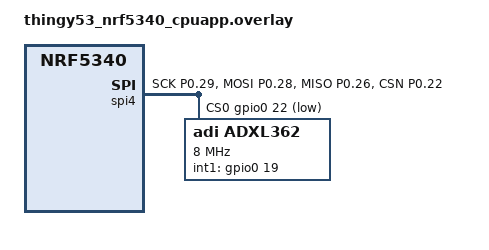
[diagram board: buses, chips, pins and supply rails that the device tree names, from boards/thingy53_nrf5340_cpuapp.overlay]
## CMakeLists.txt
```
# SPDX-License-Identifier: Apache-2.0

cmake_minimum_required(VERSION 3.20.0)

find_package(Zephyr REQUIRED HINTS $ENV{ZEPHYR_BASE})
project(timer_dppi_spim)

target_sources(app PRIVATE src/main.c src/spim_dppi.c)
target_sources_ifdef(CONFIG_APP_SENSOR_ADXL362 app PRIVATE src/sensor_adxl362.c)
target_sources_ifdef(CONFIG_APP_SENSOR_BMI270  app PRIVATE src/sensor_bmi270.c)
```

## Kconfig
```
# Copyright (c) 2026
# SPDX-License-Identifier: Apache-2.0

DT_COMPAT_BOSCH_BMI270 := bosch,bmi270

menu "TIMER -> DPPI -> SPIM accelerometer reader"

choice APP_SENSOR
	prompt "Accelerometer on the SPI bus (chosen app,accel)"
	default APP_SENSOR_BMI270 if $(dt_compat_enabled,$(DT_COMPAT_BOSCH_BMI270))
	default APP_SENSOR_ADXL362

config APP_SENSOR_ADXL362
	bool "ADXL362 (Thingy:53)"

config APP_SENSOR_BMI270
	bool "BMI270 (nRF54L15 TAG)"

endchoice

config APP_SENSOR_ODR_HZ
	int "Sensor output data rate in Hz"
	default 400
	help
	  Rounded down to the nearest rate the sensor supports
	  (ADXL362: 12.5..400 Hz, BMI270: 25..1600 Hz).

config APP_SAMPLE_PERIOD_US
	int "TIMER trigger period in microseconds"
	default 1000
	range 10 1000000
	help
	  A TIMER (chosen app,timer-trigger) starts one SPIM transaction every
	  period, independently of the sensor. Faster than the sensor ODR means
	  repeated samples (flagged by the data-ready bit in the burst); slower
	  than the real ODR silently loses samples, so keep 5-10 % above it.

config APP_SWEEP_PERIODS_US
	string "Comma-separated list of TIMER periods (us) to cycle through (bench)"
	default ""
	help
	  When not empty, the app runs each period for APP_SWEEP_STEP_S seconds
	  and prints per-period totals (transactions, queued, fresh, dropped),
	  then moves to the next. Used to find the minimum timer rate that loses
	  no sample against the sensor's real ODR, and the bus ceiling.

config APP_SWEEP_STEP_S
	int "Seconds per sweep step"
	default 10

config APP_DRAIN_PERIOD_US
	int "Drain period in microseconds"
	default 10000
	range 100 1000000
	help
	  A thread wakes up every period, reads the EasyDMA pointer and pushes
	  the slots that arrived into the message queue; once per lap (every
	  APP_RING_SLOTS/2 samples or more) it also arms the ring wrap. The
	  actual period is rounded up to the kernel tick (plus one tick) and
	  the drain time is added to it. Delivery latency: at most that real
	  period when at most 4 samples arrive per drain (the drain waits one
	  transaction time so the newest one is complete); above that the
	  newest sample of each drain goes out on the next drain (real period
	  plus one sample period). Interrupts per second = 1 / period (wake-up)
	  + wraps.

config APP_RING_SLOTS
	int "Ring size in samples"
	default 256
	range 8 4096
	help
	  The wrap is armed once the DMA is past half of the ring, so the ring
	  must hold at least two drain periods of samples (ring >= 2 x rate x
	  period), plus slack for scheduling delay; 8 guard slots are added
	  after it and an overflow into them is counted.

config APP_PER_SAMPLE_IRQ
	bool "Deliver each sample from the SPIM END interrupt"
	default n
	help
	  One interrupt per transaction instead of the drain thread: a single
	  buffer, and the END ISR copies the sample that just ended into the
	  queue (latency = ISR entry + copy; ~1.2 us with the core awake, up to
	  ~15.5 us from idle on the nRF54L15 M33, ~26 us on the nRF5340). Valid
	  while the sample period exceeds the transaction time plus that entry
	  plus ~2 us (measured clean down to 40 us on both SoCs); a
	  transaction that starts during the copy is detected and the sample
	  dropped as "torn", one that starts before the ISR entry is not (the
	  data may then be mixed). No ring, no wrap; APP_DRAIN_PERIOD_US,
	  APP_RING_SLOTS and APP_WRAP_AWAKE_BELOW_US are unused.

config APP_WRAP_AWAKE_BELOW_US
	int "Wait awake for the wrap when the sample period is below this (us)"
	default 64
	range 0 10000
	depends on !APP_PER_SAMPLE_IRQ
	help
	  When the wrap is due and the recent samples were closer together than
	  this, the drain thread stays awake until the wrap ISR has run (at most
	  a quarter of the drain period or 8 sample periods) instead of going
	  back to sleep. Waking the core from idle for that IRQ costs up to
	  ~16.5 us on the nRF54L15 (RRAM) and ~24 us on the nRF5340, more than
	  one sample period at high rates. 0 disables the wait.

config APP_QUEUE_DEPTH
	int "Message queue depth in samples"
	default 256
	help
	  Must hold at least one drain's worth of samples plus the worst-case
	  consumer delay.

config APP_QUEUE_FRESH_ONLY
	bool "Drop repeated samples before queueing (data-ready bit clear)"
	default n
	help
	  Transactions faster than the sensor ODR re-read the previous sample.
	  With this option the drain thread (or the END ISR, per-sample mode)
	  checks the data-ready bit in the burst's STATUS byte and only queues
	  new samples, so the queue and the consumer see the sensor's real
	  rate. Skipped samples are counted.

config APP_SPI_FREQ_HZ
	int "SPIM clock frequency in Hz"
	default 4000000

config APP_SPI_CSN_DURATION
	int "IFTIMING.CSNDUR: CSN-to-SCK delay and CSN inactive time, in SPIM core clock cycles"
	default 2
	range 1 255
	help
	  Reset value 2. nrfx raises it automatically only when it applies the
	  nRF54L errata 8 workaround (PRESCALER > 2); at higher SPI clocks it
	  may need a larger value so SCK is settled before the first edge.

config APP_SPI_RX_DELAY
	int "IFTIMING.RXDELAY: MISO sample delay (-1 = driver default)"
	default -1
	range -1 7
	help
	  Only on SPIM instances that have RXDELAY (nRF5340 SPIM4, nRF54L SPIMxx).

config APP_WRAP_ON_STARTED
	bool "Arm the wrap on SPIM STARTED instead of DMA.RX.READY on nRF54L (bench)"
	default n
	help
	  On nRF54L the ring wrap is armed on DMA.RX.READY, the event the
	  datasheet defines as "registers can be written for the next
	  sequence". This option uses STARTED instead, to compare the two
	  (wrap latency, late wraps). No effect on nRF53/52, which have no
	  DMA.RX.READY event.

config APP_RRAM_STANDBY
	bool "Keep the RRAM in standby instead of power-down during idle (nRF54L, bench)"
	depends on HAS_HW_NRF_RRAMC
	default n
	help
	  By default the RRAMC powers the RRAM down in System ON idle, so the
	  first instruction fetch after a wake-up waits for it (measured ~16-17 us
	  on the nRF54L15). Standby mode (RRAMC.POWER.LOWPOWERCONFIG.MODE) gives a
	  fast wake-up at a higher idle current; the datasheet recommends it
	  together with Constant Latency mode for the lowest latency.

config APP_WRAP_LATENCY_STATS
	bool "Measure the delivering ISR latency (bench)"
	default n
	help
	  Runs the trigger TIMER at 16 MHz and, in the wrap ISR (or the END ISR
	  in per-sample mode), captures the time elapsed since the trigger
	  COMPARE that started the transaction: DPPI -> SPIM START ->
	  STARTED/DMA.RX.READY (or END) -> IRQ -> ISR.
	  Min/avg/max are printed with the reports. Used to
	  compare the Cortex-M33 and the FLPR (RISC-V) on the nRF54L15.

config APP_REQUEST_HFXO
	bool "Request the HFXO so TIMERs run from the crystal"
	default y
	depends on CLOCK_CONTROL_NRF
	help
	  Without it the TIMER (HFCLK) runs from the internal RC oscillator,
	  measured ~0.2% slow against the LFXO based kernel clock. The FLPR has
	  no clock control: there the hfxo_launcher image (launcher/) requests it.

config APP_REPORT_PERIOD_MS
	int "Report period in milliseconds"
	default 1000

endmenu

source "Kconfig.zephyr"
```

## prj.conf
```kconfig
CONFIG_GPIO=y
CONFIG_PINCTRL=y
CONFIG_LOG=y
CONFIG_CBPRINTF_FP_SUPPORT=y

# nrfx 4.0 (NCS 3.4.x): per-driver symbols only; instances come from devicetree,
# the DPPI driver was replaced by the GPPI helper layer.
CONFIG_NRFX_SPIM=y
CONFIG_NRFX_TIMER=y
CONFIG_NRFX_GPPI=y

# The accelerometer bus is driven directly with nrfx: keep the Zephyr SPI and
# sensor drivers away from it.
CONFIG_SPI=n
CONFIG_SENSOR=n
CONFIG_MAIN_STACK_SIZE=4096
```

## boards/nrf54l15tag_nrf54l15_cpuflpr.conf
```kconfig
# The TAG has no UART: log over SEGGER RTT (J-Link on the DK debug-out)
CONFIG_CONSOLE=y
CONFIG_USE_SEGGER_RTT=y
CONFIG_SEGGER_RTT_BUFFER_SIZE_UP=8192
CONFIG_RTT_CONSOLE=y
CONFIG_UART_CONSOLE=n
CONFIG_LOG_BACKEND_RTT=y
CONFIG_LOG_BACKEND_UART=n
CONFIG_LOG_BUFFER_SIZE=4096
CONFIG_LOG_BACKEND_RTT_MODE_DROP=y
CONFIG_I2C=n
# nRF54L15 errata 8 (SPIM, PRESCALER > 2, first bit 1): 8 MHz keeps PRESCALER = 2
CONFIG_APP_SPI_FREQ_HZ=8000000
# RXDELAY is in SPIM core clock cycles (16 MHz, 62.5 ns) on nRF54L; the reset
# value 2 = 125 ns = one full bit at 8 MHz, which samples the next bit.
CONFIG_APP_SPI_RX_DELAY=1
# Report lines carry several doubles; the default 768-byte log thread stack overflows (UsageFault STKOF)
CONFIG_LOG_PROCESS_THREAD_STACK_SIZE=2048
CONFIG_LOG_MODE_IMMEDIATE=y
CONFIG_NRFX_EGU20=y
```

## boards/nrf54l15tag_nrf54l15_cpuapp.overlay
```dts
/*
 * nRF54L15 TAG - BMI270 on spi22 (P1, PERI domain: same DPPI domain as
 * GPIOTE20 and TIMER2x, no PPIB needed). CSN is added to the board's pinctrl
 * group so the SPIM hardware chip select drives P1.07.
 */
/ {
	chosen {
		app,accel = &bmi270;
		app,timer-trigger = &timer20;
	};
};

&spi22_default {
	group1 {
		psels = <NRF_PSEL(SPIM_SCK, 1, 8)>,
			<NRF_PSEL(SPIM_MOSI, 1, 6)>,
			<NRF_PSEL(SPIM_MISO, 1, 5)>,
			<NRF_PSEL(SPIM_CSN, 1, 7)>;
	};
};

/* The other sensors share nothing with this test; keep their drivers out */
&adxl367 {
	status = "disabled";
};

&bme688 {
	status = "disabled";
};
```

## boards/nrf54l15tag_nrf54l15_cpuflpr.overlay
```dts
/*
 * nRF54L15 TAG, FLPR core - same wiring as the application core build:
 * BMI270 on spi22 (P1, PERI domain) with hardware CSN on P1.07. The board's
 * FLPR devicetree leaves spi22/bmi270 disabled, so enable them here (the
 * app drives SPIM22 with nrfx; no Zephyr SPI driver is involved).
 */
/ {
	chosen {
		app,accel = &bmi270;
		app,timer-trigger = &timer20;
	};
};

&spi22_default {
	group1 {
		psels = <NRF_PSEL(SPIM_SCK, 1, 8)>,
			<NRF_PSEL(SPIM_MOSI, 1, 6)>,
			<NRF_PSEL(SPIM_MISO, 1, 5)>,
			<NRF_PSEL(SPIM_CSN, 1, 7)>;
	};
};

&spi22 {
	status = "okay";
};

&bmi270 {
	status = "okay";
};
```

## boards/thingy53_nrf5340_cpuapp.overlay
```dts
/*
 * Thingy:53 - ADXL362. The board wires it to spi3 with a GPIO chip select;
 * on the nRF5340 only SPIM4 has hardware CSN, so the sensor is moved to a
 * spi4 node that uses the same pins plus CSN. Zephyr's SPI/sensor drivers
 * are disabled (CONFIG_SPI=n); the app drives SPIM4 with nrfx and applies
 * this node's pinctrl itself.
 */
/delete-node/ &adxl362;

/ {
	chosen {
		app,accel = &adxl362;
		app,timer-trigger = &timer1;
	};
};

&pinctrl {
	spi4_accel: spi4_accel {
		group1 {
			psels = <NRF_PSEL(SPIM_SCK, 0, 29)>,
				<NRF_PSEL(SPIM_MOSI, 0, 28)>,
				<NRF_PSEL(SPIM_MISO, 0, 26)>,
				<NRF_PSEL(SPIM_CSN, 0, 22)>;
		};
	};
};

&spi3 {
	status = "disabled";
};

&spi4 {
	status = "okay";
	pinctrl-0 = <&spi4_accel>;
	pinctrl-1 = <&spi4_accel>;
	pinctrl-names = "default", "sleep";
	cs-gpios = <&gpio0 22 GPIO_ACTIVE_LOW>;

	adxl362: adxl362@0 {
		compatible = "adi,adxl362";
		reg = <0>;
		spi-max-frequency = <8000000>;
		int1-gpios = <&gpio0 19 GPIO_ACTIVE_HIGH>;
	};
};
```

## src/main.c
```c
/*
 * timer_dppi_spim - accelerometer read at a fixed rate set by a TIMER,
 * nRF Connect SDK v3.4.1
 *
 *   TIMER COMPARE0 --DPPI--> SPIM START
 *   SPIM (hardware CSN, EasyDMA, RX pointer post-increment) fills a ring;
 *   a drain thread moves the new slots to a k_msgq every APP_DRAIN_PERIOD_US.
 *
 * The board overlay selects sensor, bus, pins and the trigger TIMER (see
 * app_dt.h); Kconfig selects period, drain period and ring size. This file
 * only reports and,
 * when APP_SWEEP_PERIODS_US is set, sweeps the period (bench).
 */
#include <stdlib.h>
#include <string.h>

#include <zephyr/kernel.h>
#include <zephyr/logging/log.h>

#include "sensor.h"
#include "spim_dppi.h"

LOG_MODULE_REGISTER(app, LOG_LEVEL_INF);

#define G_MS2 9.80665f

static float to_ms2(int16_t raw)
{
	return raw * sensor->mg_per_lsb * G_MS2 / 1000.0f;
}

/* Per-report window statistics */
struct stats {
	uint32_t n, fresh;
	int16_t zmin, zmax;
	int32_t zsum;
};

static void stats_reset(struct stats *s)
{
	s->n = s->fresh = 0;
	s->zmin = INT16_MAX;
	s->zmax = INT16_MIN;
	s->zsum = 0;
}

static struct stats win;

/* Drain the queue for one report period, then print the window statistics */
static void run_window(uint32_t *elapsed_ms)
{
	uint8_t raw[SENSOR_BURST_LEN];
	struct sensor_sample s;
	int64_t end = k_uptime_get() + CONFIG_APP_REPORT_PERIOD_MS;

	while (k_uptime_get() < end) {
		/* One sample per get, in order; the drain thread (or the END ISR) fills it */
		if (k_msgq_get(&sample_q, raw, K_MSEC(5)) != 0) {
			continue;
		}
		sensor->decode(raw, &s);
		win.n++;
		win.fresh += s.fresh;
		win.zmin = MIN(win.zmin, s.z);
		win.zmax = MAX(win.zmax, s.z);
		win.zsum += s.z;
	}
	*elapsed_ms += CONFIG_APP_REPORT_PERIOD_MS;
	LOG_INF("t=%u ms xfers=%u queued=%u fresh=%u skipped=%u dropped=%u late=%u ovf=%u torn=%u Z avg=%.2f min=%.2f max=%.2f m/s^2",
		*elapsed_ms, spim_dppi_total_xfers(), win.n, win.fresh, spim_dppi_skipped(),
		spim_dppi_dropped(), spim_dppi_late_wraps(), spim_dppi_overflows(), spim_dppi_torn(),
		win.n ? (double)to_ms2(win.zsum / (int32_t)win.n) : 0.0,
		win.n ? (double)to_ms2(win.zmin) : 0.0, win.n ? (double)to_ms2(win.zmax) : 0.0);
	stats_reset(&win);
}

/*
 * Sweep: run each period for APP_SWEEP_STEP_S seconds and print the totals
 * of the step (first second discarded as settling). Fresh per second vs the
 * sensor's real ODR shows whether the timer rate loses samples.
 */
static void run_sweep(const char *list)
{
	char buf[128];
	uint32_t elapsed_ms = 0;

	strncpy(buf, list, sizeof(buf) - 1);
	buf[sizeof(buf) - 1] = '\0';

	for (char *tok = strtok(buf, ","); tok; tok = strtok(NULL, ",")) {
		uint32_t period = strtoul(tok, NULL, 10);

		if (period == 0) {
			continue;
		}
		spim_dppi_set_period_us(period);
		LOG_INF("=== sweep: period %u us (%u.%u Hz) for %d s", period,
			1000000 / period, (10000000 / period) % 10, CONFIG_APP_SWEEP_STEP_S);
		run_window(&elapsed_ms);   /* settling second, not counted */
#if defined(CONFIG_APP_WRAP_LATENCY_STATS)
		uint32_t d1, d2, d3;

		spim_dppi_wrap_latency(&d1, &d2, &d3, true);   /* discard the settling second */
#endif

		uint32_t x0 = spim_dppi_total_xfers(), q = 0, f = 0, t0 = spim_dppi_torn();
		uint32_t s0 = spim_dppi_skipped(), d0 = spim_dppi_dropped(), l0 = spim_dppi_late_wraps();
		uint32_t o0 = spim_dppi_overflows();
		uint8_t raw[SENSOR_BURST_LEN];
		struct sensor_sample s;
		int64_t end = k_uptime_get() + (CONFIG_APP_SWEEP_STEP_S - 1) * 1000;

		while (k_uptime_get() < end) {
			if (k_msgq_get(&sample_q, raw, K_MSEC(5)) == 0) {
				sensor->decode(raw, &s);
				q++;
				f += s.fresh;
			}
		}
		uint32_t secs = CONFIG_APP_SWEEP_STEP_S - 1;

		LOG_INF("=== sweep result: period %u us: xfers/s=%u queued/s=%u fresh/s=%u.%u skipped=%u dropped=%u late_wraps=%u overflows=%u torn=%u",
			period, (spim_dppi_total_xfers() - x0) / secs, q / secs, f / secs,
			(f * 10 / secs) % 10, spim_dppi_skipped() - s0, spim_dppi_dropped() - d0,
			spim_dppi_late_wraps() - l0, spim_dppi_overflows() - o0, spim_dppi_torn() - t0);
#if defined(CONFIG_APP_WRAP_LATENCY_STATS)
		uint32_t mn, av, mx;

		if (spim_dppi_wrap_latency(&mn, &av, &mx, true)) {
			LOG_INF("=== latency (trigger -> %s ISR): min=%u.%02u avg=%u.%02u max=%u.%02u us",
				IS_ENABLED(CONFIG_APP_PER_SAMPLE_IRQ) ? "sample" : "wrap",
				mn / 1000, (mn % 1000) / 10, av / 1000, (av % 1000) / 10,
				mx / 1000, (mx % 1000) / 10);
		}
#endif
	}
	LOG_INF("=== sweep done");
}

int main(void)
{
	int err;
	uint32_t elapsed_ms = 0;

#if defined(CONFIG_APP_PER_SAMPLE_IRQ)
	LOG_INF("timer_dppi_spim: %s, trigger=timer %u us, one interrupt per sample%s", sensor->name,
		CONFIG_APP_SAMPLE_PERIOD_US,
		IS_ENABLED(CONFIG_APP_QUEUE_FRESH_ONLY) ? " fresh-only" : "");
#else
	LOG_INF("timer_dppi_spim: %s, trigger=timer %u us, drain every %u us%s", sensor->name,
		CONFIG_APP_SAMPLE_PERIOD_US,
		CONFIG_APP_DRAIN_PERIOD_US,
		IS_ENABLED(CONFIG_APP_QUEUE_FRESH_ONLY) ? " fresh-only" : "");
#endif

	err = spim_dppi_init();
	if (err) {
		LOG_ERR("init failed (%d)", err);
		return err;
	}
	LOG_INF("%s ODR %u.%u Hz", sensor->name, sensor_odr_hz_x10() / 10, sensor_odr_hz_x10() % 10);

	err = spim_dppi_start();
	if (err) {
		LOG_ERR("start failed (%d)", err);
		return err;
	}

	stats_reset(&win);
	if (CONFIG_APP_SWEEP_PERIODS_US[0] != '\0') {
		run_sweep(CONFIG_APP_SWEEP_PERIODS_US);
	}
	while (1) {
		run_window(&elapsed_ms);
	}
	return 0;
}
```

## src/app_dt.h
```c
/*
 * Everything board specific comes from the devicetree, through chosen nodes
 * set by the board overlay:
 *   app,accel          the accelerometer node on its SPI bus (cs-gpios on the
 *                      bus = hardware CSN pin)
 *   app,timer-trigger  TIMER whose COMPARE0 starts every SPIM transaction
 */
#ifndef APP_DT_H_
#define APP_DT_H_

#include <zephyr/devicetree.h>
#include <zephyr/dt-bindings/gpio/gpio.h>

#define ACCEL_NODE      DT_CHOSEN(app_accel)
#define BUS_NODE        DT_BUS(ACCEL_NODE)
#define TRIG_TIMER_NODE DT_CHOSEN(app_timer_trigger)

BUILD_ASSERT(DT_NODE_EXISTS(ACCEL_NODE), "chosen app,accel is missing in the board overlay");
BUILD_ASSERT(DT_NODE_EXISTS(TRIG_TIMER_NODE), "chosen app,timer-trigger is missing in the board overlay");
BUILD_ASSERT(DT_NODE_HAS_PROP(BUS_NODE, cs_gpios), "the SPI bus needs cs-gpios (hardware CSN pin)");

/* Absolute nRF pin number (port * 32 + pin) of a gpio phandle-array entry */
#define NRF_PIN_ABS(node, prop) \
	(DT_PROP(DT_GPIO_CTLR(node, prop), port) * 32 + DT_GPIO_PIN(node, prop))

#define CS_PIN_ABS NRF_PIN_ABS(BUS_NODE, cs_gpios)

#endif /* APP_DT_H_ */
```

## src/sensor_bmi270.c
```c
/*
 * BMI270 backend (nRF54L15 TAG, SPI). SPI protocol: read = (reg | 0x80), then
 * one dummy byte, then data; write = reg, data. The sensor needs a config
 * configuration file uploaded after every power-on before it measures.
 * Register map and config blob from the Zephyr bmi270 driver (Apache-2.0).
 */
#include <errno.h>
#include <zephyr/kernel.h>
#include <zephyr/logging/log.h>

#include "sensor.h"
#include "bmi270_config_file.h"

LOG_MODULE_REGISTER(bmi270, LOG_LEVEL_INF);

#define REG_CHIP_ID         0x00
#define REG_STATUS          0x03   /* bit7 drdy_acc, cleared when data regs are read */
#define REG_ACC_X_LSB       0x0C
#define REG_INTERNAL_STATUS 0x21
#define REG_ACC_CONF        0x40
#define REG_ACC_RANGE       0x41
#define REG_INT1_IO_CTRL    0x53
#define REG_INT_LATCH       0x55
#define REG_INT_MAP_DATA    0x58
#define REG_INIT_CTRL       0x59
#define REG_INIT_ADDR_0     0x5B
#define REG_INIT_DATA       0x5E
#define REG_PWR_CONF        0x7C
#define REG_PWR_CTRL        0x7D
#define REG_CMD             0x7E

#define CHIP_ID             0x24
#define CMD_SOFT_RESET      0xB6
#define STATUS_DRDY_ACC     0x80
#define INTERNAL_STATUS_MSK 0x0F
#define INTERNAL_STATUS_OK  0x01
#define PWR_CONF_ADV_PWR_SAVE 0x01
#define PWR_CTRL_ACC_EN     0x04
#define ACC_CONF_FILT_PERF  0x80
#define ACC_CONF_BWP_NORM_AVG4 (0x02 << 4)
#define ACC_RANGE_2G        0x00
#define INT_IO_CTRL_LVL_HIGH 0x02
#define INT_IO_CTRL_OUTPUT_EN 0x08
#define INT_MAP_DATA_DRDY_INT1 0x04
#define INT_LATCH_NONE      0x00

#define CONFIG_CHUNK        32
#define WRITE_DELAY_US      1000   /* after each write while adv_pwr_save may be on */
#define SOFT_RESET_US       2000
#define POWER_ON_US         500

/*
 * Burst: STATUS (0x03) through ACC_Z_MSB (0x11) = 15 registers, plus the
 * address byte and the dummy byte the BMI270 clocks out before data.
 *   rx[0]     clocked while sending the address (ignored)
 *   rx[1]     dummy
 *   rx[2]     STATUS      (0x03)
 *   rx[11..16] ACC_X/Y/Z LSB,MSB (0x0C..0x11)
 */
static const uint8_t burst_tx[1] = { REG_STATUS | 0x80 };
BUILD_ASSERT(SENSOR_BURST_LEN == 2 + (0x11 - 0x03 + 1));

static int reg_read(uint8_t reg, uint8_t *val)
{
	uint8_t tx[1] = { reg | 0x80 };
	uint8_t rx[3];
	int err = spim_xfer_blocking(tx, sizeof(tx), rx, sizeof(rx));

	*val = rx[2];
	return err;
}

static int reg_write(uint8_t reg, uint8_t val)
{
	uint8_t tx[2] = { reg, val };
	int err = spim_xfer_blocking(tx, sizeof(tx), NULL, 0);

	k_busy_wait(WRITE_DELAY_US);
	return err;
}

static int reg_write_burst(uint8_t reg, const uint8_t *data, size_t len)
{
	uint8_t tx[1 + CONFIG_CHUNK];

	tx[0] = reg;
	memcpy(&tx[1], data, len);
	int err = spim_xfer_blocking(tx, 1 + len, NULL, 0);

	k_busy_wait(WRITE_DELAY_US);
	return err;
}

static int upload_config(void)
{
	const uint8_t *cfg = bmi270_config_file_max_fifo;
	const size_t cfg_len = sizeof(bmi270_config_file_max_fifo);
	int64_t t0 = k_uptime_get();
	size_t chunks = 0;
	int err;

	for (size_t index = 0; index < cfg_len; index += CONFIG_CHUNK) {
		uint8_t addr[2] = { (uint8_t)((index / 2) & 0x0F), (uint8_t)((index / 2) >> 4) };

		err = reg_write_burst(REG_INIT_ADDR_0, addr, 2);
		if (err) {
			return err;
		}
		err = reg_write_burst(REG_INIT_DATA, &cfg[index], MIN(CONFIG_CHUNK, cfg_len - index));
		if (err) {
			return err;
		}
		chunks++;
	}
	uint8_t a0, a1;

	reg_read(REG_INIT_ADDR_0, &a0);
	reg_read(REG_INIT_ADDR_0 + 1, &a1);
	LOG_INF("config upload: %u bytes in %u chunks, %lld ms; INIT_ADDR readback 0x%02X%02X",
		(unsigned)cfg_len, (unsigned)chunks, k_uptime_get() - t0, a1, a0);
	return 0;
}

/* ODR code and effective rate (x10) for ACC_CONF[3:0] */
struct odr_entry { uint16_t hz_x10; uint8_t code; };
static const struct odr_entry odr_table[] = {
	{ 16000, 0x0C }, { 8000, 0x0B }, { 4000, 0x0A }, { 2000, 0x09 },
	{ 1000, 0x08 }, { 500, 0x07 }, { 250, 0x06 },
};

static uint16_t odr_hz_x10;

static int bmi270_init(void)
{
	uint8_t id, v;
	int err;

	k_busy_wait(POWER_ON_US);
	/* First read switches the interface to SPI mode; its value is not trusted */
	reg_read(REG_CHIP_ID, &id);
	k_msleep(2);
	err = reg_read(REG_CHIP_ID, &id);
	if (err) {
		return err;
	}
	if (id != CHIP_ID) {
		LOG_ERR("CHIP_ID = 0x%02X, expected 0x%02X", id, CHIP_ID);
		return -ENODEV;
	}
	LOG_INF("BMI270 CHIP_ID 0x%02X", id);

	err = reg_write(REG_CMD, CMD_SOFT_RESET);
	if (err) {
		return err;
	}
	k_busy_wait(SOFT_RESET_US);
	reg_read(REG_CHIP_ID, &id);  /* back to SPI mode after reset */
	k_msleep(2);

	err = reg_write(REG_PWR_CONF, 0x00);   /* adv_pwr_save off for config load */
	if (err) {
		return err;
	}
	err = reg_write(REG_INIT_CTRL, 0x00);
	if (err) {
		return err;
	}
	err = upload_config();
	if (err) {
		return err;
	}
	err = reg_write(REG_INIT_CTRL, 0x01);
	if (err) {
		return err;
	}
	for (int tries = 0; ; tries++) {
		reg_read(REG_INTERNAL_STATUS, &v);
		if ((v & INTERNAL_STATUS_MSK) == INTERNAL_STATUS_OK) {
			break;
		}
		if (tries >= 30) {
			LOG_ERR("config load failed, INTERNAL_STATUS 0x%02X after %d ms", v, tries * 10);
			return -EIO;
		}
		k_msleep(10);
	}
	LOG_INF("config file loaded (%u bytes)", (unsigned)sizeof(bmi270_config_file_max_fifo));

	const struct odr_entry *sel = &odr_table[ARRAY_SIZE(odr_table) - 1];

	for (size_t i = 0; i < ARRAY_SIZE(odr_table); i++) {
		if (odr_table[i].hz_x10 <= CONFIG_APP_SENSOR_ODR_HZ * 10) {
			sel = &odr_table[i];
			break;
		}
	}
	odr_hz_x10 = sel->hz_x10;

	err = reg_write(REG_ACC_CONF, ACC_CONF_FILT_PERF | ACC_CONF_BWP_NORM_AVG4 | sel->code);
	if (err) {
		return err;
	}
	err = reg_write(REG_ACC_RANGE, ACC_RANGE_2G);
	if (err) {
		return err;
	}
	/* adv_pwr_save stays off: continuous performance mode */
	err = reg_write(REG_PWR_CTRL, PWR_CTRL_ACC_EN);
	if (err) {
		return err;
	}
	k_msleep(50);

	reg_read(REG_ACC_CONF, &v);
	LOG_INF("ACC_CONF 0x%02X (+/-2 g, ODR %u Hz)", v, odr_hz_x10 / 10);
	reg_read(REG_PWR_CTRL, &v);
	LOG_INF("PWR_CTRL 0x%02X (%s)", v, (v & PWR_CTRL_ACC_EN) ? "accel on" : "accel OFF");
	return 0;
}

static int bmi270_enable_drdy_int(void)
{
	uint8_t v;
	int err;

	err = reg_write(REG_INT1_IO_CTRL, INT_IO_CTRL_LVL_HIGH | INT_IO_CTRL_OUTPUT_EN);
	if (err) {
		return err;
	}
	err = reg_write(REG_INT_LATCH, INT_LATCH_NONE);
	if (err) {
		return err;
	}
	err = reg_write(REG_INT_MAP_DATA, INT_MAP_DATA_DRDY_INT1);
	if (err) {
		return err;
	}
	reg_read(REG_STATUS, &v);
	LOG_INF("INT1: data-ready, push-pull active high, non-latched; STATUS 0x%02X", v);
	return 0;
}

static void bmi270_decode(const uint8_t *rx, struct sensor_sample *out)
{
	out->fresh = (rx[2] & STATUS_DRDY_ACC) != 0;
	out->x = (int16_t)((rx[12] << 8) | rx[11]);
	out->y = (int16_t)((rx[14] << 8) | rx[13]);
	out->z = (int16_t)((rx[16] << 8) | rx[15]);
}

static struct sensor_ops ops = {
	.name = "BMI270",
	.init = bmi270_init,
	.enable_drdy_int = bmi270_enable_drdy_int,
	.burst_tx = burst_tx,
	.burst_tx_len = sizeof(burst_tx),
	.decode = bmi270_decode,
	.fresh_offset = 2,
	.fresh_mask = STATUS_DRDY_ACC,
	.mg_per_lsb = 2000.0f / 32768.0f,   /* +/-2 g over 16 bits */
};

const struct sensor_ops *const sensor = &ops;

uint16_t sensor_odr_hz_x10(void)
{
	return odr_hz_x10;
}
```

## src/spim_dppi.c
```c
#include <string.h>
#include <errno.h>

#include <zephyr/kernel.h>
#include <zephyr/irq.h>
#include <zephyr/logging/log.h>
#include <zephyr/drivers/pinctrl.h>
#if defined(CONFIG_APP_REQUEST_HFXO)
#include <zephyr/drivers/clock_control/nrf_clock_control.h>
#include <zephyr/sys/onoff.h>
#endif

#include <nrfx_spim.h>
#include <nrfx_timer.h>
#if defined(CONFIG_APP_RRAM_STANDBY)
#include <hal/nrf_rramc.h>
#endif
#include <helpers/nrfx_gppi.h>
#include <hal/nrf_spim.h>
#include <hal/nrf_timer.h>

#include "app_dt.h"
#include "sensor.h"
#include "spim_dppi.h"

LOG_MODULE_REGISTER(spim_dppi, LOG_LEVEL_INF);

/* ---- Instances from the devicetree ------------------------------------ */

static nrfx_spim_t spim = NRFX_SPIM_INSTANCE(DT_REG_ADDR(BUS_NODE));
PINCTRL_DT_DEFINE(BUS_NODE);

/* Trigger: free-running TIMER whose COMPARE0 starts every transaction */
static nrfx_timer_t timer_trig = NRFX_TIMER_INSTANCE(DT_REG_ADDR(TRIG_TIMER_NODE));

/* Event after which the .PTR register may be rewritten for the next transfer:
 * DMA.RX.READY on nRF54L ("EasyDMA has buffered the .PTR and .MAXCNT
 * registers"), STARTED on nRF53/52 ("can be updated immediately after having
 * received the STARTED event"). nrfx names the former RXSTARTED. */
#if NRF_SPIM_HAS_DMA_REG && !defined(CONFIG_APP_WRAP_ON_STARTED)
#define READY_EVENT      NRF_SPIM_EVENT_RXSTARTED
#define READY_INT_MASK   NRF_SPIM_INT_RXREADY_MASK
#define READY_EVENT_NAME "DMA.RX.READY"
#else
#define READY_EVENT      NRF_SPIM_EVENT_STARTED
#define READY_INT_MASK   NRF_SPIM_INT_STARTED_MASK
#define READY_EVENT_NAME "STARTED"
#endif

/* ---- Ring ---------------------------------------------------------------- */

/*
 * The EasyDMA array list writes one burst per transaction into consecutive
 * slots of the ring, on its own. Two ways to move the slots into the message
 * queue:
 *  - time-drained (default): a thread wakes up every APP_DRAIN_PERIOD_US,
 *    reads the DMA pointer, pushes the slots that arrived (except the one
 *    that may still be in flight) and, once the DMA is past half of the
 *    ring, arms the wrap;
 *  - per-sample (APP_PER_SAMPLE_IRQ): one buffer instead of the ring; the
 *    SPIM END interrupt copies each burst into the queue as soon as its
 *    transaction has ended. One interrupt per sample, no drain, no wrap.
 * The wrap (time-drained only) is the READY interrupt, enabled once,
 * rewriting the pointer to slot 0 inside the window the datasheet allows
 * (right after READY/STARTED, before the next START).
 *
 * GUARD slots follow the ring so that a drain that runs late overflows into
 * unused memory (counted as overflow) instead of whatever follows the array.
 */
#if defined(CONFIG_APP_PER_SAMPLE_IRQ)
#define RING_SLOTS  1          /* one buffer, see below */
#define GUARD_SLOTS 0
#else
#define RING_SLOTS  CONFIG_APP_RING_SLOTS
#define GUARD_SLOTS 8
#endif
/* The wrap is armed once the DMA is this far into the ring, so the slots of
 * the old lap still to be delivered are at least half a ring ahead of the
 * new lap. Hence the sizing rule: ring >= 2 x rate x drain period. */
#define WRAP_MIN_HEAD (RING_SLOTS / 2)

K_MSGQ_DEFINE(sample_q, SENSOR_BURST_LEN, CONFIG_APP_QUEUE_DEPTH, 1);

static uint8_t ring[RING_SLOTS + GUARD_SLOTS][SENSOR_BURST_LEN];
/* EasyDMA source: the backend's TX prefix copied to RAM (EasyDMA cannot read flash) */
static uint8_t burst_tx[SENSOR_BURST_LEN];

static uint32_t dropped;      /* samples that did not fit in the queue */
#if !defined(CONFIG_APP_PER_SAMPLE_IRQ)
static uint32_t late_wraps;   /* wraps written after the next START (at most one sample skipped each) */
static uint32_t overflows;    /* laps in which the DMA reached the guard slots */
static uint32_t lap_base;     /* transactions completed in previous laps (for xfers) */
#endif
#if defined(CONFIG_APP_QUEUE_FRESH_ONLY)
static uint32_t skipped;      /* repeated samples dropped by the fresh filter */
#endif
#if defined(CONFIG_APP_WRAP_LATENCY_STATS)
/* Trigger-timer ticks (16 MHz) from the trigger COMPARE to the delivering ISR */
static uint32_t lat_min = UINT32_MAX, lat_max, lat_sum, lat_n;
#endif

/* Delivery state, only touched by the drain thread (or the END ISR) and the
 * wrap ISR */
#if !defined(CONFIG_APP_PER_SAMPLE_IRQ)
static uint32_t tail;              /* next slot to deliver */
static bool in_guard;              /* the DMA is past the ring end (overflow counted) */
static volatile bool wrap_armed;   /* READY interrupt enabled, waiting to rewrite PTR */
static volatile bool wrap_done;    /* ISR wrote PTR = ring[0] */
static volatile uint32_t wrap_last;/* last slot of the lap that ended with that wrap */

static inline uint32_t rx_ptr_get(void)
{
#if NRF_SPIM_HAS_DMA_REG
	return spim.p_reg->DMA.RX.PTR;
#else
	return spim.p_reg->RXD.PTR;
#endif
}

/* Index of the slot the DMA will write next (the one before may be in flight) */
static inline uint32_t head_index(void)
{
	return (rx_ptr_get() - (uint32_t)ring[0]) / SENSOR_BURST_LEN;
}
#endif

#if defined(CONFIG_APP_WRAP_LATENCY_STATS)
static inline void latency_record(void)
{
	/* The trigger timer was cleared by the COMPARE that started the transaction */
	uint32_t lt = nrfx_timer_capture(&timer_trig, NRF_TIMER_CC_CHANNEL1);

	lat_min = MIN(lat_min, lt);
	lat_max = MAX(lat_max, lt);
	lat_sum += lt;
	lat_n++;
}
#endif

/* ---- Blocking SPI for sensor configuration ----------------------------- */

static K_SEM_DEFINE(xfer_done, 0, 1);
static bool blocking_phase = true;

static void spim_evt_handler(nrfx_spim_event_t const *p_event, void *p_context)
{
	ARG_UNUSED(p_context);
	if (p_event->type == NRFX_SPIM_EVENT_DONE) {
		k_sem_give(&xfer_done);
	}
}

#if !defined(CONFIG_APP_PER_SAMPLE_IRQ)
/*
 * Wrap ISR: READY of transaction k just fired, the register already points
 * at slot k+1. Point it at slot 0 instead, so transaction k+1 writes slot 0.
 * If a START sneaks in between the clear and the write, transaction k+1 had
 * already latched slot k+1 (in the ring or in the guard) and slot 0 goes to
 * k+2. wrap_last = h-1 with h read after the clear: if the START came before
 * that read, slot k+1 is delivered; if after, it is skipped (one sample
 * lost). Stale data is never delivered. late_wraps counts both cases, so it
 * is an upper bound of the samples lost this way.
 */
static void wrap_isr(void)
{
	uint32_t h, h2;
	bool started;

#if defined(CONFIG_APP_WRAP_LATENCY_STATS) && !defined(CONFIG_APP_PER_SAMPLE_IRQ)
	latency_record();
#endif
	nrf_spim_int_disable(spim.p_reg, READY_INT_MASK);
	nrf_spim_event_clear(spim.p_reg, READY_EVENT);
	h = head_index();                                   /* k + 1 */
	nrf_spim_rx_buffer_set(spim.p_reg, ring[0], SENSOR_BURST_LEN);
	started = nrf_spim_event_check(spim.p_reg, READY_EVENT);
	h2 = head_index();
	if (started && h2 == 0) {
		late_wraps++;      /* transaction k+1 took slot h: delivered or skipped, see above */
	}
	wrap_last = h - 1;
	wrap_armed = false;
	wrap_done = true;
}

/* Enable the READY interrupt once the DMA is deep enough into the ring */
static bool arm_wrap(uint32_t h)
{
	if (wrap_armed || wrap_done || h < WRAP_MIN_HEAD) {
		return false;
	}
	wrap_armed = true;
	nrf_spim_event_clear(spim.p_reg, READY_EVENT);
	nrf_spim_int_enable(spim.p_reg, READY_INT_MASK);
	return true;
}

static void deliver(uint32_t from, uint32_t to)
{
	to = MIN(to, RING_SLOTS + GUARD_SLOTS);
	for (uint32_t i = from; i < to; i++) {
#if defined(CONFIG_APP_QUEUE_FRESH_ONLY)
		/* TIMER faster than the ODR re-reads the previous sample: the
		 * data-ready bit in the burst's STATUS byte tells them apart */
		if ((ring[i][sensor->fresh_offset] & sensor->fresh_mask) == 0) {
			skipped++;
			continue;
		}
#endif
		if (k_msgq_put(&sample_q, ring[i], K_NO_WAIT) != 0) {
			dropped++;
		}
	}
}

static void overflow_check(uint32_t h)
{
	if (h > RING_SLOTS) {
		if (!in_guard) {
			in_guard = true;
			overflows++;
		}
	} else {
		in_guard = false;
	}
}
#endif /* !CONFIG_APP_PER_SAMPLE_IRQ */

#if defined(CONFIG_APP_PER_SAMPLE_IRQ)

/* ---- Per-sample delivery from the SPIM END interrupt -------------------- */

/*
 * One buffer, no ring, no wrap: the END ISR copies the burst into the queue
 * before the next transaction overwrites it. That holds while the sample
 * period exceeds the transaction time plus the ISR entry from idle (up to
 * ~15.5 us on the nRF54L15 M33, ~26 us on the nRF5340) plus ~2 us. A START
 * during the copy is detected (READY event set after being cleared) and the
 * sample is dropped as torn; a START before the ISR entry looks like the
 * normal one and cannot be told apart, so above that rate the data may be
 * stale: use the drain instead.
 */
static uint32_t ends;      /* END interrupts served (transactions, while not late) */
static uint32_t torn;      /* samples overwritten while being copied */

static void sample_isr(void)
{
	uint8_t burst[SENSOR_BURST_LEN];

#if defined(CONFIG_APP_WRAP_LATENCY_STATS)
	latency_record();
#endif
	ends++;
	nrf_spim_event_clear(spim.p_reg, READY_EVENT);
	memcpy(burst, ring[0], SENSOR_BURST_LEN);
	if (nrf_spim_event_check(spim.p_reg, READY_EVENT)) {
		torn++;                /* the next transaction started mid-copy */
		return;
	}
#if defined(CONFIG_APP_QUEUE_FRESH_ONLY)
	if ((burst[sensor->fresh_offset] & sensor->fresh_mask) == 0) {
		skipped++;
		return;
	}
#endif
	if (k_msgq_put(&sample_q, burst, K_NO_WAIT) != 0) {
		dropped++;
	}
}

#else /* time-drained */

/* ---- Drain: ring -> message queue, then arm the wrap -------------------- */

/*
 * Called every APP_DRAIN_PERIOD_US from the drain thread. The pointer says
 * how many transactions started, not whether the newest (slot h-1) has
 * ended. At low rates (few samples per drain) that slot is worth waiting
 * for: if no new START happens within one transaction time, it is complete
 * and goes out now instead of one sample period later. At high rates the
 * remainder simply goes out on the next drain. After a wrap, the lap that
 * ended at wrap_last is finished first, then the new lap from slot 0.
 */
#define XFER_SETTLE_US (SENSOR_BURST_LEN * 8 * 1000000UL / CONFIG_APP_SPI_FREQ_HZ + 4)
#define SETTLE_MAX_PENDING 4

/* Slots certainly complete after waiting one transaction time: h if no new
 * transaction started meanwhile (slot h-1 ended), else all below the newest.
 * If the pending wrap fired during the wait the head restarted from 0: the
 * transaction that wrapped proves slot h-1 ended, and slot h itself (the
 * old lap's last, wrap_last) is handled by the next drain. */
static uint32_t settled(uint32_t h)
{
	uint32_t h2;

	k_busy_wait(XFER_SETTLE_US);
	h2 = head_index();
	if (wrap_done || h2 < h) {
		return h;
	}
	return h2 == h ? h : h2 - 1;
}

/* After a wrap with head still 0: wait one transaction time, after which the
 * old lap's last slot has certainly ended; returns the head read then */
static uint32_t head_settled_new_lap(void)
{
	k_busy_wait(XFER_SETTLE_US);
	return head_index();
}

static uint32_t last_drain_cyc;    /* k_cycle time of the previous drain */

static void drain(void)
{
	/* wrap_done is sampled before the head: a wrap landing between the two
	 * reads yields a small new-lap head with the flag still clear, which
	 * delivers nothing this time (tail is past it) and is folded next drain */
	bool wrapped = wrap_done;
	uint32_t h = head_index();
	uint32_t now = k_cycle_get_32();
	uint32_t arrived = 0;
	uint32_t upto;

	overflow_check(h);
	if (wrapped) {
		uint32_t last = wrap_last;

		/* Everything up to and including wrap_last is complete once the new
		 * lap has started (h >= 1) or one transaction time has passed */
		if (h == 0) {
			h = head_settled_new_lap();
		}
		deliver(tail, last + 1);
		lap_base += last + 1;
		tail = 0;
		wrap_done = false;
	}
	upto = h ? h - 1 : 0;
	if (h >= 1 && h - tail <= SETTLE_MAX_PENDING) {
		upto = settled(h);
	}
	if (upto > tail) {
		arrived = upto - tail;
		deliver(tail, upto);
		tail = upto;
	}
	if (arm_wrap(h) && arrived > 0 && CONFIG_APP_WRAP_AWAKE_BELOW_US > 0 && now != last_drain_cyc) {
		/* The wrap must land before the START that follows the next READY.
		 * Waking the core from idle for that IRQ costs up to ~16.5 us on
		 * the nRF54L15 M33 (RRAM) and ~24 us on the nRF5340: when the
		 * samples are closer than that, stay awake for it instead. At low
		 * rates the IRQ path is used and the core sleeps. */
		uint32_t period_us = k_cyc_to_us_floor32(now - last_drain_cyc) / arrived;

		if (period_us < CONFIG_APP_WRAP_AWAKE_BELOW_US) {
			uint32_t limit_us = MIN(CONFIG_APP_DRAIN_PERIOD_US / 4, 8 * period_us + 8);
			uint32_t t0 = k_cycle_get_32();
			uint32_t limit = k_us_to_cyc_ceil32(limit_us);

			while (!wrap_done && (k_cycle_get_32() - t0) < limit) {
			}
		}
	}
	last_drain_cyc = now;
}

static void drain_thread(void *a, void *b, void *c)
{
	ARG_UNUSED(a); ARG_UNUSED(b); ARG_UNUSED(c);
	while (1) {
		k_sleep(K_USEC(CONFIG_APP_DRAIN_PERIOD_US));
		if (!blocking_phase) {
			drain();
		}
	}
}

/* Cooperative priority: a drain is never preempted, so its delivery cannot
 * be delayed past the ring by application threads (only by ISRs) */
K_THREAD_DEFINE(drain_tid, 1024, drain_thread, NULL, NULL, NULL, -1, 0, 0);

#endif /* CONFIG_APP_PER_SAMPLE_IRQ */

/* The SPIM IRQ belongs to the nrfx driver during the blocking phase and to
 * the wrap (and, per-sample, the END delivery) afterwards. */
static void spim_irq_wrapper(const void *arg)
{
	if (blocking_phase) {
		nrfx_spim_irq_handler((nrfx_spim_t *)arg);
		return;
	}
#if defined(CONFIG_APP_PER_SAMPLE_IRQ)
	if (nrf_spim_event_check(spim.p_reg, NRF_SPIM_EVENT_END)) {
		nrf_spim_event_clear(spim.p_reg, NRF_SPIM_EVENT_END);
		sample_isr();
	}
#else
	if (wrap_armed && nrf_spim_event_check(spim.p_reg, READY_EVENT)) {
		wrap_isr();
	}
	/* Anything else (e.g. END left enabled by the driver): silence it */
	nrf_spim_int_disable(spim.p_reg, ~READY_INT_MASK);
	nrf_spim_event_clear(spim.p_reg, NRF_SPIM_EVENT_STARTED);
	nrf_spim_event_clear(spim.p_reg, NRF_SPIM_EVENT_END);
#endif
}

int spim_xfer_blocking(const uint8_t *tx, size_t tx_len, uint8_t *rx, size_t rx_len)
{
	nrfx_spim_xfer_desc_t xfer = {
		.p_tx_buffer = tx, .tx_length = tx_len,
		.p_rx_buffer = rx, .rx_length = rx_len,
	};
	int err = nrfx_spim_xfer(&spim, &xfer, 0);

	if (err < 0) {
		LOG_ERR("nrfx_spim_xfer: %d", err);
		return err;
	}
	if (k_sem_take(&xfer_done, K_MSEC(100)) != 0) {
		LOG_ERR("SPI transfer timeout");
		return -ETIMEDOUT;
	}
	return 0;
}

#if defined(CONFIG_APP_REQUEST_HFXO)
static int hfxo_request(void)
{
	static struct onoff_client cli;
	struct onoff_manager *mgr = z_nrf_clock_control_get_onoff(CLOCK_CONTROL_NRF_SUBSYS_HF);
	int res;

	sys_notify_init_spinwait(&cli.notify);
	int err = onoff_request(mgr, &cli);

	if (err < 0) {
		return err;
	}
	while (sys_notify_fetch_result(&cli.notify, &res) == -EAGAIN) {
		k_msleep(1);
	}
	LOG_INF("HFXO running");
	return res < 0 ? res : 0;
}
#endif

static void timer_noop_handler(nrf_timer_event_t event_type, void *p_context)
{
	ARG_UNUSED(event_type);
	ARG_UNUSED(p_context);
}

/* ---- Init ---------------------------------------------------------------- */

int spim_dppi_init(void)
{
	int err;

#if defined(CONFIG_APP_RRAM_STANDBY)
	/* Fast RRAM wake-up: the ISR code lives in RRAM, and after an idle
	 * period the first fetch otherwise waits for the RRAM to power up */
	nrf_rramc_lp_mode_set(NRF_RRAMC, NRF_RRAMC_LP_STANDBY);
	LOG_INF("RRAMC low-power mode: standby");
#endif
#if defined(CONFIG_APP_REQUEST_HFXO)
	err = hfxo_request();
	if (err) {
		LOG_ERR("HFXO request failed: %d", err);
		return err;
	}
#endif

	/* Pins (SCK/MOSI/MISO/CSN) come from the bus node's pinctrl */
	err = pinctrl_apply_state(PINCTRL_DT_DEV_CONFIG_GET(BUS_NODE), PINCTRL_STATE_DEFAULT);
	if (err) {
		LOG_ERR("pinctrl_apply_state: %d", err);
		return err;
	}

	IRQ_CONNECT(DT_IRQN(BUS_NODE), DT_IRQ(BUS_NODE, priority), spim_irq_wrapper, &spim, 0);

	nrfx_spim_config_t cfg = NRFX_SPIM_DEFAULT_CONFIG(NRF_SPIM_PIN_NOT_CONNECTED,
							  NRF_SPIM_PIN_NOT_CONNECTED,
							  NRF_SPIM_PIN_NOT_CONNECTED,
							  CS_PIN_ABS);
	cfg.skip_gpio_cfg = true;   /* pinctrl did it */
	cfg.skip_psel_cfg = true;
	cfg.use_hw_ss = true;       /* CSN asserted by the SPIM around every transaction */
	cfg.ss_duration = CONFIG_APP_SPI_CSN_DURATION;
	cfg.frequency = CONFIG_APP_SPI_FREQ_HZ;
#if NRF_SPIM_HAS_RXDELAY
	if (CONFIG_APP_SPI_RX_DELAY >= 0) {
		cfg.rx_delay = CONFIG_APP_SPI_RX_DELAY;
	}
#endif

	err = nrfx_spim_init(&spim, &cfg, spim_evt_handler, NULL);
	if (err < 0) {
		LOG_ERR("nrfx_spim_init: %d", err);
		return err;
	}
	LOG_INF("SPIM @%p, hardware CSN on pin %d, %u Hz, CSNDUR %u, RXDELAY %d", spim.p_reg,
		CS_PIN_ABS, (unsigned)cfg.frequency, (unsigned)cfg.ss_duration,
#if NRF_SPIM_HAS_RXDELAY
		(int)cfg.rx_delay);
#else
		-1);
#endif


	err = sensor->init();
	if (err) {
		LOG_ERR("%s init failed: %d", sensor->name, err);
		return err;
	}
	return 0;
}

/* ---- Statistics ---------------------------------------------------------- */

uint32_t spim_dppi_total_xfers(void)
{
#if defined(CONFIG_APP_PER_SAMPLE_IRQ)
	return ends;
#else
	/* Transactions started: previous laps plus the current head. Between the
	 * wrap ISR and its drain the head already restarted from 0, so add the
	 * finished lap that has not been folded into lap_base yet. */
	uint32_t h = head_index();

	return lap_base + h + (wrap_done ? wrap_last + 1 : 0);
#endif
}

uint32_t spim_dppi_torn(void)
{
#if defined(CONFIG_APP_PER_SAMPLE_IRQ)
	return torn;
#else
	return 0;
#endif
}

uint32_t spim_dppi_dropped(void)
{
	return dropped;
}

uint32_t spim_dppi_late_wraps(void)
{
#if defined(CONFIG_APP_PER_SAMPLE_IRQ)
	return 0;
#else
	return late_wraps;
#endif
}

uint32_t spim_dppi_overflows(void)
{
#if defined(CONFIG_APP_PER_SAMPLE_IRQ)
	return 0;
#else
	return overflows;
#endif
}

uint32_t spim_dppi_skipped(void)
{
#if defined(CONFIG_APP_QUEUE_FRESH_ONLY)
	return skipped;
#else
	return 0;
#endif
}

#if defined(CONFIG_APP_WRAP_LATENCY_STATS)
bool spim_dppi_wrap_latency(uint32_t *min_ns, uint32_t *avg_ns, uint32_t *max_ns, bool reset)
{
	unsigned int key = irq_lock();
	uint32_t n = lat_n, mn = lat_min, mx = lat_max, sum = lat_sum;

	if (reset) {
		lat_min = UINT32_MAX;
		lat_max = lat_sum = lat_n = 0;
	}
	irq_unlock(key);
	if (n == 0) {
		return false;
	}
	/* 16 MHz ticks -> ns (62.5 ns each) */
	*min_ns = mn * 125 / 2;
	*max_ns = mx * 125 / 2;
	*avg_ns = (uint32_t)((uint64_t)sum * 125 / 2 / n);
	return true;
}
#endif

void spim_dppi_set_period_us(uint32_t period_us)
{
	nrfx_timer_disable(&timer_trig);
	nrfx_timer_clear(&timer_trig);
	nrfx_timer_compare(&timer_trig, NRF_TIMER_CC_CHANNEL0,
			   nrfx_timer_us_to_ticks(&timer_trig, period_us), false);
	nrfx_timer_enable(&timer_trig);
}

/* ---- Trigger (TIMER COMPARE0 event), DPPI, start ----------------------- */

static int trigger_init(uint32_t *eep)
{
	/* 1 MHz is enough for the period; the latency bench needs 16 MHz resolution */
	nrfx_timer_config_t cfg = NRFX_TIMER_DEFAULT_CONFIG(
		IS_ENABLED(CONFIG_APP_WRAP_LATENCY_STATS) ? NRFX_MHZ_TO_HZ(16) : NRFX_MHZ_TO_HZ(1));
	int err;

	cfg.bit_width = NRF_TIMER_BIT_WIDTH_32;
	err = nrfx_timer_init(&timer_trig, &cfg, timer_noop_handler);
	if (err < 0) {
		return err;
	}
	nrfx_timer_extended_compare(&timer_trig, NRF_TIMER_CC_CHANNEL0,
				    nrfx_timer_us_to_ticks(&timer_trig, CONFIG_APP_SAMPLE_PERIOD_US),
				    NRF_TIMER_SHORT_COMPARE0_CLEAR_MASK, false);
	*eep = nrfx_timer_compare_event_address_get(&timer_trig, NRF_TIMER_CC_CHANNEL0);
	LOG_INF("trigger: TIMER @%p every %u us", timer_trig.p_reg, CONFIG_APP_SAMPLE_PERIOD_US);
	return 0;
}

int spim_dppi_start(void)
{
	nrfx_gppi_handle_t h_start;
	uint32_t eep;
	int err;

	err = trigger_init(&eep);
	if (err) {
		LOG_ERR("trigger init: %d", err);
		return err;
	}

	/* Repeated burst: the driver sets the buffers once and steps aside */
	memcpy(burst_tx, sensor->burst_tx, sensor->burst_tx_len);
	nrfx_spim_xfer_desc_t xfer = {
		.p_tx_buffer = burst_tx, .tx_length = sensor->burst_tx_len,
		.p_rx_buffer = ring[0], .rx_length = SENSOR_BURST_LEN,
	};
	uint32_t flags = NRFX_SPIM_FLAG_HOLD_XFER | NRFX_SPIM_FLAG_REPEATED_XFER |
			 NRFX_SPIM_FLAG_NO_XFER_EVT_HANDLER;

	if (!IS_ENABLED(CONFIG_APP_PER_SAMPLE_IRQ)) {
		flags |= NRFX_SPIM_FLAG_RX_POSTINC;   /* array list: one slot per transaction */
	}
	err = nrfx_spim_xfer(&spim, &xfer, flags);
	if (err < 0) {
		LOG_ERR("arming repeated transfer: %d", err);
		return err;
	}
	/* From here on the peripheral is driven by DPPI. The driver may have left
	 * STARTED (nRF54L errata workaround) or END interrupts enabled; with
	 * nobody servicing them they would storm. */
	nrf_spim_int_disable(spim.p_reg, 0xFFFFFFFF);
	nrf_spim_event_clear(spim.p_reg, NRF_SPIM_EVENT_STARTED);
	nrf_spim_event_clear(spim.p_reg, NRF_SPIM_EVENT_END);
	nrf_spim_event_clear(spim.p_reg, READY_EVENT);
	blocking_phase = false;

	/* The only DPPI connection: trigger event -> SPIM START */
	err = nrfx_gppi_conn_alloc(eep, nrfx_spim_start_task_address_get(&spim), &h_start);
	if (err < 0) {
		return err;
	}
	nrfx_gppi_conn_enable(h_start);

	nrfx_timer_clear(&timer_trig);
	nrfx_timer_enable(&timer_trig);
#if defined(CONFIG_APP_PER_SAMPLE_IRQ)
	nrf_spim_int_enable(spim.p_reg, NRF_SPIM_INT_END_MASK);
	LOG_INF("DPPI connected, burst %u bytes, one buffer, one END interrupt per sample",
		SENSOR_BURST_LEN);
#else
	LOG_INF("DPPI connected, burst %u bytes, ring %u slots, drain every %u us, wrap on %s",
		SENSOR_BURST_LEN, RING_SLOTS, CONFIG_APP_DRAIN_PERIOD_US, READY_EVENT_NAME);
#endif
	return 0;
}
```

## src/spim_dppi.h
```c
/*
 * Hardware engine: SPIM with hardware CSN, repeated EasyDMA burst started
 * through DPPI by a TIMER COMPARE event. The bursts land in a ring (RX
 * pointer post-increment); a periodic drain thread moves them into a k_msgq
 * and, once per lap, re-arms the ring wrap on the SPIM READY IRQ.
 */
#ifndef SPIM_DPPI_H_
#define SPIM_DPPI_H_

#include <stdint.h>
#include <zephyr/kernel.h>

#include "sensor.h"

/* Bring up SPIM (pinctrl from the devicetree bus node) and the sensor */
int spim_dppi_init(void);

/* Arm the repeated burst, connect DPPI, start the trigger. Returns errno. */
int spim_dppi_start(void);

/* Total SPIM transactions started since start (finished laps + DMA pointer) */
uint32_t spim_dppi_total_xfers(void);


/* One SENSOR_BURST_LEN-byte raw burst per message, in order */
extern struct k_msgq sample_q;
/* Samples that could not be queued because the queue was full */
uint32_t spim_dppi_dropped(void);
/* Samples skipped as repeats (APP_QUEUE_FRESH_ONLY) */
uint32_t spim_dppi_skipped(void);
/* Wraps written after the next START had begun (that transaction's sample is skipped) */
uint32_t spim_dppi_late_wraps(void);
/* Laps in which the DMA reached the guard slots (ring too small for the drain period) */
uint32_t spim_dppi_overflows(void);
/* Per-sample mode: samples the next transaction overwrote during the copy (dropped) */
uint32_t spim_dppi_torn(void);

/* Change the trigger TIMER period at runtime (restarts the timer) */
void spim_dppi_set_period_us(uint32_t period_us);

#if defined(CONFIG_APP_WRAP_LATENCY_STATS)
/* Trigger COMPARE -> wrap ISR latency since the last reset; false if no sample */
bool spim_dppi_wrap_latency(uint32_t *min_ns, uint32_t *avg_ns, uint32_t *max_ns, bool reset);
#endif

#endif /* SPIM_DPPI_H_ */
```
